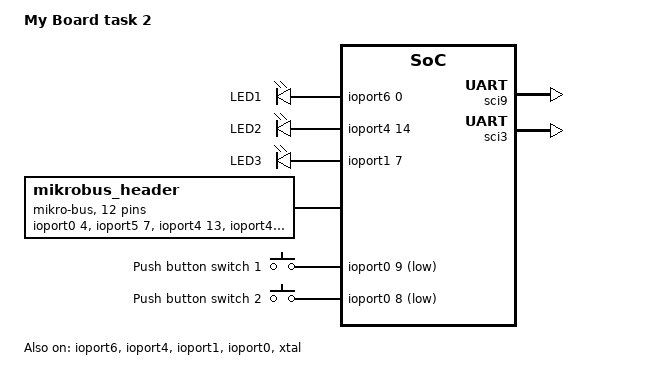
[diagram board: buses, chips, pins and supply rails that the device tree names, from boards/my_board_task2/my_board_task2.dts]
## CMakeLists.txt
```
cmake_minimum_required(VERSION 3.20.0)



set(DTC_OVERLAY_FILE
    "${CMAKE_CURRENT_SOURCE_DIR}/boards/app.overlay"
)

# # This will allow west to find the board named my_board
# list(APPEND BOARD_ROOT ${CMAKE_CURRENT_SOURCE_DIR})
# list(APPEND DTS_ROOT ${CMAKE_CURRENT_SOURCE_DIR}/..)

find_package(Zephyr REQUIRED HINTS $ENV{ZEPHYR_BASE})
project(my_zephyr_app)


add_subdirectory(drivers/our_drivers)
target_sources(app PRIVATE src/main.cpp)
```

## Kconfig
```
config APP_HEARTBEAT_PERIOD_MS
    int "Heartbeat Delay (100-2000)"
    default 250
    range 100 2000
    help
        Hearbeat LED delay configuration


source "Kconfig.zephyr"
rsource "drivers/our_drivers/Kconfig"
```

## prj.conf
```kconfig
CONFIG_GPIO=y
CONFIG_LOG=y

CONFIG_OUR_DRIVER=y
```

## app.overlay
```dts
/ {
    aliases {
		app-led= &led2;  // as there is no led0 for ek_ra8d1, and the led1 is already in aliases
	};
};
```

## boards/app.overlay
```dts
/ {


    aliases {
        app-led= &led2;  // as there is no led0 for ek_ra8d1, and the led1 is already in aliases
	};


    our_driver0: our_driver {
        compatible = "our,driver";
        status = "okay";
    };
};
```

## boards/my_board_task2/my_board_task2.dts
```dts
/dts-v1/;


#include <renesas/ra/ra8/r7fa8d1bhecbd.dtsi>
#include <zephyr/dt-bindings/gpio/dvp-20pin-connector.h>
#include <zephyr/dt-bindings/gpio/gpio.h>
#include <zephyr/dt-bindings/input/input-event-codes.h>
#include <zephyr/dt-bindings/memory-attr/memory-attr-arm.h>

//this is for sci9_default
#include "ek_ra8d1-pinctrl.dtsi"

/ {
	model = "My Board task 2";
	compatible = "babis,my-board";

	chosen {
		zephyr,sram = &sram0;
		zephyr,flash = &flash0;
		zephyr,console = &uart9;
		zephyr,shell-uart = &uart9;
		zephyr,flash-controller = &flash1;
	};

    leds {
		compatible = "gpio-leds";

		led1: led1 {
			gpios = <&ioport6 0 GPIO_ACTIVE_HIGH>;
			label = "LED1";
		};

		led2: led2 {
			gpios = <&ioport4 14 GPIO_ACTIVE_HIGH>;
			label = "LED2";
		};

		led3: led3 {
			gpios = <&ioport1 7 GPIO_ACTIVE_HIGH>;
			label = "LED3";
		};
	};

	mikrobus_header: mikrobus-connector {
		compatible = "mikro-bus";
		#gpio-cells = <2>;
		gpio-map-mask = <0xffffffff 0xffffffc0>;
		gpio-map-pass-thru = <0 0x3f>;
		gpio-map = <0 0 &ioport0 4 0>,	/* AN  */
			   <1 0 &ioport5 7 0>,	/* RST */
			   <2 0 &ioport4 13 0>,	/* CS   */
			   <3 0 &ioport4 12 0>,	/* SCK  */
			   <4 0 &ioport4 10 0>,	/* MISO */
			   <5 0 &ioport4 11 0>,	/* MOSI */
			   /* +3.3V */
			   /* GND */
			   <6 0 &ioport9 7 0>,	/* PWM  */
			   <7 0 &ioport0 10 0>,	/* INT  */
			   <8 0 &ioport4 8 0>,	/* RX   */
			   <9 0 &ioport4 9 0>,	/* TX   */
			   <10 0 &ioport4 0 0>,	/* SCL  */
			   <11 0 &ioport4 1 0>;	/* SDA  */
		/* +5V */
		/* GND */
	};

    buttons {
		compatible = "gpio-keys";

		button0: s1 {
			gpios = <&ioport0 9 (GPIO_PULL_UP | GPIO_ACTIVE_LOW)>;
			label = "Push button switch 1";
			zephyr,code = <INPUT_KEY_0>;
		};

		button1: s2 {
			gpios = <&ioport0 8 (GPIO_PULL_UP | GPIO_ACTIVE_LOW)>;
			label = "Push button switch 2";
			zephyr,code = <INPUT_KEY_1>;
		};
	};


    aliases {
		led0 = &led1;
		led1 = &led2;
		led2 = &led3;
		sw0 = &button0;
		sw1 = &button1;
	};

};
&ioport6 {
	status = "okay";
};

&ioport4 {
	status = "okay";
};

&ioport1 {
	status = "okay";
};

&ioport0 {
	status = "okay";
};

&sci9 {
	pinctrl-0 = <&sci9_default>;
	pinctrl-names = "default";
	status = "okay";

	uart9: uart {
		current-speed = <115200>;
		status = "okay";
	};
};


//uart??
&sci3 {
	pinctrl-0 = <&sci3_default>;
	pinctrl-names = "default";
	status = "okay";

	uart3: uart {
		current-speed = <115200>;
		status = "okay";
	};
};



&flash1 {
	partitions {
		compatible = "fixed-partitions";
		#address-cells = <1>;
		#size-cells = <1>;

		storage_partition: partition@0 {
			label = "storage";
			reg = <0x0 DT_SIZE_K(12)>;
		};
	};
};


//these are for clocks

&xtal {
	clock-frequency = <DT_FREQ_M(20)>;
	mosel = <0>;
	#clock-cells = <0>;
	status = "okay";
};

&subclk {
	status = "okay";
};

&pll {
	status = "okay";

	pllp {
		status = "okay";
	};

	pllq {
		div = <4>;
		freq = <DT_FREQ_M(240)>;
		status = "okay";
	};

	pllr {
		status = "okay";
	};
};

&sciclk {
	clocks = <&pllp>;
	div = <4>;
	status = "okay";
};


mikrobus_serial: &uart3 {};
```

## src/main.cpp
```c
#include <zephyr/drivers/gpio.h>
#include <zephyr/kernel.h>
#include <zephyr/logging/log.h>
#include <zephyr/drivers/sensor.h>


#include "../drivers/our_drivers/our_driver.h"
// #define SLEEP_TIME_MS 1000


/* The devicetree node identifier for the "app_led(app-led)" alias. */
#define LED_NODE0 DT_ALIAS(app_led)
#define LED_NODE DT_ALIAS(led0)



static const struct device * driver = DEVICE_DT_GET(DT_NODELABEL(our_driver0));

static const struct gpio_dt_spec led0 = GPIO_DT_SPEC_GET(LED_NODE0, gpios);
static const struct gpio_dt_spec led = GPIO_DT_SPEC_GET(LED_NODE, gpios);

LOG_MODULE_REGISTER(main, LOG_LEVEL_INF);



int main(void)
{
    bool led_state = true;
    uint8_t state = 0;

    if (!gpio_is_ready_dt(&led0)) return 0;
    if (!gpio_is_ready_dt(&led)) return 0;

    if (gpio_pin_configure_dt(&led0, GPIO_OUTPUT_ACTIVE) < 0) return 0;
    if (gpio_pin_configure_dt(&led, GPIO_OUTPUT_ACTIVE) < 0) return 0;

    LOG_INF("Hello World !!!");
    
    while (1) {
        // LOG_INF("Hello World !!!");

        if (gpio_pin_toggle_dt(&led) < 0) return 0;


        if(led_state) sensor_channel_get(driver, SENSOR_CHAN_AMBIENT_TEMP, NULL);
        else sensor_sample_fetch(driver);

        led_state = !led_state;

        state++;


        if(state == 5)
        {
            our_driver_set_param(driver, 2);
        }
        if(state >= 10)
        {
            our_driver_set_param(driver, 0);
            state = 0;
        }


        LOG_INF("LED state: %s", led_state ? "ON" : "OFF");
        // k_msleep(SLEEP_TIME_MS);
        k_msleep(CONFIG_APP_HEARTBEAT_PERIOD_MS);

    }
    return 0;
}
```
